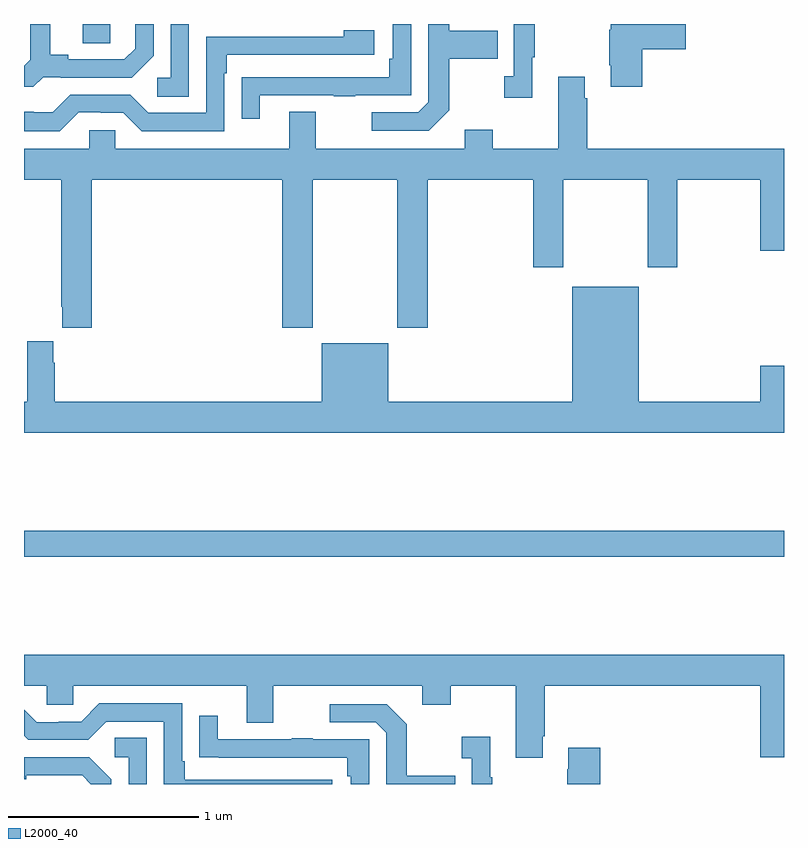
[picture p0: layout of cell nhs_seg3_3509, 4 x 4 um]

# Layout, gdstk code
import gdstk
lib = gdstk.Library(unit=1e-6, precision=1e-09)
def R(c, l, rs):  # rectangles x0, y0, x1, y1
    for r in rs: c.add(gdstk.rectangle(r[:2], r[2:], *l))
def P(c, l, *ps):  # polygons
    for p in ps: c.add(gdstk.Polygon(p, *l))
L2000_40 = (2000, 40)

nhs_seg3_3509 = lib.new_cell('nhs_seg3_3509')
R(nhs_seg3_3509, L2000_40, [(293,701.596,297,701.732), (293.309,704.299,293.454,704.4)])
P(nhs_seg3_3509, L2000_40, [(295.237,703.945),(295.237,704.218),(295.493,704.218),(295.493,704.365),(295.237,704.365),(295.237,704.4),(295.128,704.4),(295.128,703.989),(295.074,703.935),(294.831,703.935),(294.831,703.839),(295.131,703.839)],
  [(296.255,704.267),(296.482,704.267),(296.482,704.4),(296.087,704.4),(296.087,704.371),(296.08,704.371),(296.08,704.182),(296.087,704.182),(296.087,704.07),(296.255,704.07)],
  [(293.1,704.121),(293.194,704.121),(293.194,704.118),(293.566,704.118),(293.682,704.234),(293.682,704.4),(293.585,704.4),(293.585,704.271),(293.528,704.214),(293.233,704.214),(293.233,704.237),(293.137,704.237),(293.137,704.4),(293.033,704.4),(293.033,704.213),(293,704.18),(293,704.069),(293.048,704.069)],
  [(295.675,704.225),(295.687,704.225),(295.687,704.4),(295.578,704.4),(295.578,704.126),(295.527,704.126),(295.527,704.013),(295.675,704.013)],
  [(294.241,704.025),(294.631,704.025),(294.631,704.02),(294.743,704.02),(294.743,704.025),(295.038,704.025),(295.038,704.4),(294.942,704.4),(294.942,704.218),(294.922,704.218),(294.922,704.121),(294.247,704.121),(294.247,704.12),(294.145,704.12),(294.145,703.902),(294.241,703.902)],
  [(293.868,704.4),(293.772,704.4),(293.772,704.118),(293.7,704.118),(293.7,704.017),(293.868,704.017)],
  [(293.289,703.935),(293.405,703.935),(293.405,703.932),(293.523,703.932),(293.619,703.836),(294.054,703.836),(294.054,704.141),(294.067,704.141),(294.067,704.238),(294.844,704.238),(294.844,704.368),(294.683,704.368),(294.683,704.334),(293.958,704.334),(293.958,703.932),(293.655,703.932),(293.559,704.028),(293.244,704.028),(293.151,703.935),(293.051,703.935),(293.051,703.939),(293,703.939),(293,703.835),(293.189,703.835)],
  [(293.357,703.58),(294.359,703.58),(294.359,702.801),(294.519,702.801),(294.519,703.58),(294.964,703.58),(294.964,702.801),(295.124,702.801),(295.124,703.58),(295.679,703.58),(295.679,703.119),(295.839,703.119),(295.839,703.58),(296.284,703.58),(296.284,703.119),(296.439,703.119),(296.439,703.58),(296.876,703.58),(296.876,703.206),(297,703.206),(297,703.744),(295.964,703.744),(295.964,704.009),(295.951,704.009),(295.951,704.122),(295.811,704.122),(295.811,703.744),(295.467,703.744),(295.467,703.843),(295.319,703.843),(295.319,703.744),(294.535,703.744),(294.535,703.939),(294.395,703.939),(294.395,703.744),(293.481,703.744),(293.481,703.842),(293.343,703.842),(293.343,703.744),(293,703.744),(293,703.58),(293.197,703.58),(293.197,702.913),(293.201,702.913),(293.201,702.801),(293.357,702.801)],
  [(297,702.601),(296.876,702.601),(296.876,702.412),(296.236,702.412),(296.236,703.018),(295.886,703.018),(295.886,702.412),(294.916,702.412),(294.916,702.721),(294.566,702.721),(294.566,702.412),(293.162,702.412),(293.162,702.617),(293.155,702.617),(293.155,702.73),(293.018,702.73),(293.018,702.412),(293,702.412),(293,702.248),(297,702.248)],
  [(295.729,700.651),(295.742,700.651),(295.742,700.916),(296.876,700.916),(296.876,700.542),(297,700.542),(297,701.08),(293,701.08),(293,700.916),(293.121,700.916),(293.121,700.818),(293.259,700.818),(293.259,700.916),(294.173,700.916),(294.173,700.722),(294.313,700.722),(294.313,700.916),(295.097,700.916),(295.097,700.817),(295.245,700.817),(295.245,700.916),(295.589,700.916),(295.589,700.539),(295.729,700.539)],
  [(294.622,700.422),(293.845,700.422),(293.845,700.519),(293.832,700.519),(293.832,700.824),(293.397,700.824),(293.301,700.728),(293.183,700.728),(293.183,700.725),(293.067,700.725),(293,700.792),(293,700.654),(293.022,700.632),(293.337,700.632),(293.433,700.728),(293.736,700.728),(293.736,700.4),(294.622,700.4)],
  [(295.271,700.443),(295.015,700.443),(295.015,700.715),(294.909,700.821),(294.609,700.821),(294.609,700.725),(294.852,700.725),(294.906,700.671),(294.906,700.4),(295.271,700.4)],
  [(294.816,700.635),(294.521,700.635),(294.521,700.64),(294.409,700.64),(294.409,700.635),(294.019,700.635),(294.019,700.759),(293.923,700.759),(293.923,700.54),(294.025,700.54),(294.025,700.539),(294.7,700.539),(294.7,700.442),(294.72,700.442),(294.72,700.4),(294.816,700.4)],
  [(295.465,700.435),(295.453,700.435),(295.453,700.648),(295.305,700.648),(295.305,700.535),(295.356,700.535),(295.356,700.4),(295.465,700.4)],
  [(293.646,700.643),(293.478,700.643),(293.478,700.542),(293.55,700.542),(293.55,700.4),(293.646,700.4)],
  [(296.033,700.591),(295.865,700.591),(295.865,700.478),(295.858,700.478),(295.858,700.4),(296.033,700.4)],
  [(293.46,700.426),(293.344,700.542),(293,700.542),(293,700.424),(293.011,700.424),(293.011,700.446),(293.306,700.446),(293.352,700.4),(293.46,700.4)])

lib.write_gds('nhs_seg3_3509.gds')
